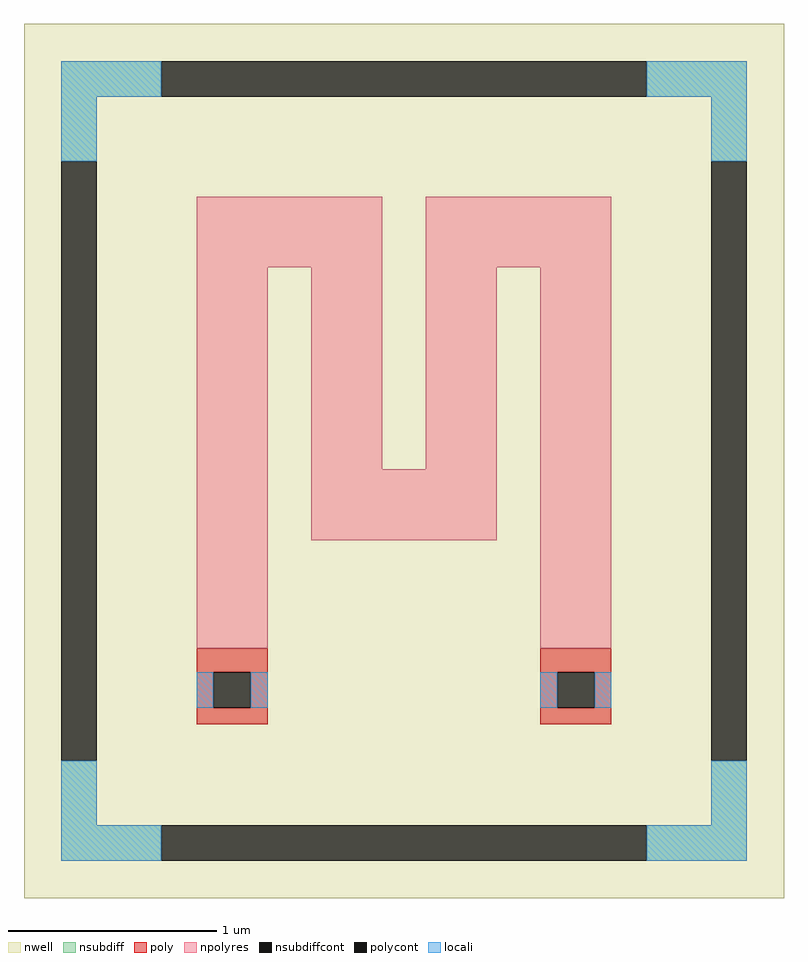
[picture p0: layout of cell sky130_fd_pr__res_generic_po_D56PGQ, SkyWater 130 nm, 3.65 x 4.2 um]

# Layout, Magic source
magic
tech sky130A
magscale 1 2
<< nwell >>
rect -365 -420 365 420
<< nsubdiff >>
rect -329 350 -233 384
rect 233 350 329 384
rect -329 288 -295 350
rect 295 288 329 350
rect -329 -350 -295 -288
rect 295 -350 329 -288
rect -329 -384 -233 -350
rect 233 -384 329 -350
<< nsubdiffcont >>
rect -233 350 233 384
rect -329 -288 -295 288
rect 295 -288 329 288
rect -233 -384 233 -350
<< poly >>
rect -199 -203 -131 -180
rect -199 -237 -183 -203
rect -147 -237 -131 -203
rect -199 -253 -131 -237
rect 131 -203 199 -180
rect 131 -237 147 -203
rect 183 -237 199 -203
rect 131 -253 199 -237
<< polycont >>
rect -183 -237 -147 -203
rect 147 -237 183 -203
<< npolyres >>
rect -199 186 -21 254
rect -199 -180 -131 186
rect -89 -8 -21 186
rect 21 186 199 254
rect 21 -8 89 186
rect -89 -76 89 -8
rect 131 -180 199 186
<< locali >>
rect -329 350 -233 384
rect 233 350 329 384
rect -329 288 -295 350
rect 295 288 329 350
rect -199 -237 -183 -203
rect -147 -237 -131 -203
rect 131 -237 147 -203
rect 183 -237 199 -203
rect -329 -350 -295 -288
rect 295 -350 329 -288
rect -329 -384 -233 -350
rect 233 -384 329 -350
<< properties >>
string gencell sky130_fd_pr__res_generic_po
string FIXED_BBOX -312 -367 312 367
string parameters w 0.34 l 1.650 m 1 nx 4 wmin 0.330 lmin 1.650 rho 48.2 val 1.25k dummy 0 dw 0.0 term 0.0 sterm 0.0 caplen 0.4 snake 1 guard 1 glc 1 grc 1 gtc 1 gbc 1 roverlap 0 endcov 100 full_metal 1 hv_guard 0 vias 1 viagb 0 viagt 0 viagl 0 viagr 0
string library sky130
<< end >>
